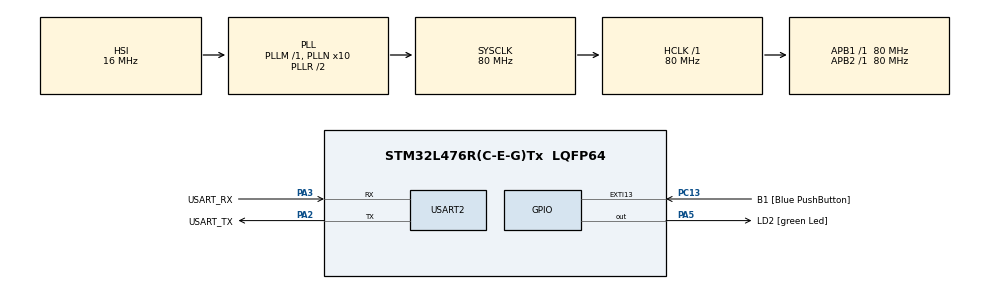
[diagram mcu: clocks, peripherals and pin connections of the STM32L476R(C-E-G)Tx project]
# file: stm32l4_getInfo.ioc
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Mcu.Family=STM32L4
Mcu.Name=STM32L476R(C-E-G)Tx
Mcu.Package=LQFP64
NVIC.PriorityGroup=NVIC_PRIORITYGROUP_4
PA13\ (JTMS-SWDIO).GPIO_Label=TMS
PA13\ (JTMS-SWDIO).Signal=SYS_JTMS-SWDIO
PA14\ (JTCK-SWCLK).GPIO_Label=TCK
PA14\ (JTCK-SWCLK).Signal=SYS_JTCK-SWCLK
PA2.GPIO_Label=USART_TX
PA2.GPIO_Mode=GPIO_MODE_AF_PP
PA2.GPIO_PuPd=GPIO_NOPULL
PA2.GPIO_Speed=GPIO_SPEED_FREQ_VERY_HIGH
PA2.Mode=Asynchronous
PA2.Signal=USART2_TX
PA3.GPIO_Label=USART_RX
PA3.GPIO_Mode=GPIO_MODE_AF_PP
PA3.GPIO_PuPd=GPIO_NOPULL
PA3.GPIO_Speed=GPIO_SPEED_FREQ_VERY_HIGH
PA3.Mode=Asynchronous
PA3.Signal=USART2_RX
PA5.GPIO_Label=LD2 [green Led]
PA5.GPIO_ModeDefaultOutputPP=GPIO_MODE_OUTPUT_PP
PA5.GPIO_PuPd=GPIO_NOPULL
PA5.GPIO_Speed=GPIO_SPEED_FREQ_LOW
PA5.Signal=GPIO_Output
PB3\ (JTDO-TRACESWO).GPIO_Label=SWO
PB3\ (JTDO-TRACESWO).Signal=SYS_JTDO-SWO
PC13.GPIO_Label=B1 [Blue PushButton]
PC13.GPIO_ModeDefaultEXTI=GPIO_MODE_IT_FALLING
PC13.GPIO_PuPd=GPIO_NOPULL
PC13.Signal=GPXTI13
PC14-OSC32_IN\ (PC14).Signal=RCC_OSC32_IN
PC15-OSC32_OUT\ (PC15).Signal=RCC_OSC32_OUT
PH0-OSC_IN\ (PH0).Mode=HSE-External-Clock-Source
PH0-OSC_IN\ (PH0).Signal=RCC_OSC_IN
PH1-OSC_OUT\ (PH1).Signal=RCC_OSC_OUT
ProjectManager.HeapSize=0x200
ProjectManager.StackSize=0x400
ProjectManager.TargetToolchain=SW4STM32
RCC.ADCFreq_Value=32000000
RCC.AHBFreq_Value=80000000
RCC.APB1Freq_Value=80000000
RCC.APB1TimFreq_Value=80000000
RCC.APB2Freq_Value=80000000
RCC.APB2TimFreq_Value=80000000
RCC.CortexFreq_Value=80000000
RCC.HCLKFreq_Value=80000000
RCC.HSE_VALUE=8000000
RCC.HSI_VALUE=16000000
RCC.LSE_VALUE=32768
RCC.MSI_VALUE=4000000
RCC.PLLN=20
RCC.PLLSourceVirtual=RCC_PLLSOURCE_HSE
RCC.PREFETCH_ENABLE=1
RCC.SYSCLKFreq_VALUE=80000000
RCC.SYSCLKSource=RCC_SYSCLKSOURCE_PLLCLK
RCC.USBFreq_Value=32000000
RCC.VCOOutputFreq_Value=160000000
USART2.VirtualMode-Asynchronous=VM_ASYNC
USART2.WordLength=WORDLENGTH_8B
board=NUCLEO-L476RG

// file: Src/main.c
/**
  ******************************************************************************
  * File Name          : main.c
  * Description        : Main program body
  ******************************************************************************
  ** This notice applies to any and all portions of this file
  * that are not between comment pairs USER CODE BEGIN and
  * USER CODE END. Other portions of this file, whether
  * inserted by the user or by software development tools
  * are owned by their respective copyright owners.
  *
  * COPYRIGHT(c) 2017 STMicroelectronics
  *
  * Redistribution and use in source and binary forms, with or without modification,
  * are permitted provided that the following conditions are met:
  *   1. Redistributions of source code must retain the above copyright notice,
  *      this list of conditions and the following disclaimer.
  *   2. Redistributions in binary form must reproduce the above copyright notice,
  *      this list of conditions and the following disclaimer in the documentation
  *      and/or other materials provided with the distribution.
  *   3. Neither the name of STMicroelectronics nor the names of its contributors
  *      may be used to endorse or promote products derived from this software
  *      without specific prior written permission.
  *
  * THIS SOFTWARE IS PROVIDED BY THE COPYRIGHT HOLDERS AND CONTRIBUTORS "AS IS"
  * AND ANY EXPRESS OR IMPLIED WARRANTIES, INCLUDING, BUT NOT LIMITED TO, THE
  * IMPLIED WARRANTIES OF MERCHANTABILITY AND FITNESS FOR A PARTICULAR PURPOSE ARE
  * DISCLAIMED. IN NO EVENT SHALL THE COPYRIGHT HOLDER OR CONTRIBUTORS BE LIABLE
  * FOR ANY DIRECT, INDIRECT, INCIDENTAL, SPECIAL, EXEMPLARY, OR CONSEQUENTIAL
  * DAMAGES (INCLUDING, BUT NOT LIMITED TO, PROCUREMENT OF SUBSTITUTE GOODS OR
  * SERVICES; LOSS OF USE, DATA, OR PROFITS; OR BUSINESS INTERRUPTION) HOWEVER
  * CAUSED AND ON ANY THEORY OF LIABILITY, WHETHER IN CONTRACT, STRICT LIABILITY,
  * OR TORT (INCLUDING NEGLIGENCE OR OTHERWISE) ARISING IN ANY WAY OUT OF THE USE
  * OF THIS SOFTWARE, EVEN IF ADVISED OF THE POSSIBILITY OF SUCH DAMAGE.
  *
  ******************************************************************************
  */
#include "main.h"
#include "stm32l4xx_hal.h"

/* USER CODE BEGIN Includes */
#include "stm32l4xx_nucleo.h"

/* USER CODE END Includes */

UART_HandleTypeDef huart2;

/* USER CODE BEGIN PV */
/* Private variables ---------------------------------------------------------*/
RCC_ClkInitTypeDef RCC_ClkInitStruct;
RCC_OscInitTypeDef RCC_OscInitStruct;

/* USER CODE END PV */

void SystemClock_Config(void);
static void MX_GPIO_Init(void);
static void MX_USART2_UART_Init(void);

/* USER CODE BEGIN PFP */
/* Private function prototypes -----------------------------------------------*/
#ifdef __GNUC__
#define PUTCHAR_PROTOTYPE int __io_putchar(int ch)
#else
#define PUTCHAR_PROTOTYPE int fputc(int ch, FILE *f)
#endif /* __GNUC__ */

/* USER CODE END PFP */

int main(void)
{

  /* MCU Configuration----------------------------------------------------------*/

  /* Reset of all peripherals, Initializes the Flash interface and the Systick. */
  HAL_Init();

  /* Configure the system clock */
  SystemClock_Config();

  /* Initialize all configured peripherals */
  MX_GPIO_Init();
  MX_USART2_UART_Init();

  /* USER CODE BEGIN 2 */
  char uart2Data[24] = "Connected to UART Two\r\n";
   HAL_UART_Transmit(&huart2, (uint8_t *)&uart2Data,sizeof(uart2Data), 0xFFFF);

 	uint8_t len = 0;
 	char devidString[512] = {0};
 	uint32_t idcode = DBGMCU->IDCODE & 0xFFF;
 	//len += sprintf(devidString, "Device ID: 0x%lX\r\n", idcode);
 	//printf("%s", devidString);
 	switch (idcode)
 	{
	case 0x410: len += sprintf(devidString+len, "stm32f1xx medium-density"); break;
	case 0x411: len += sprintf(devidString+len, "stm32f2xx"); break;
	case 0x412: len += sprintf(devidString+len, "stm32f1xx low-density"); break;
	case 0x413: len += sprintf(devidString+len, "stm32f4xx"); break;
	case 0x414: len += sprintf(devidString+len, "stm32f1xx high-density"); break;
	case 0x415: len += sprintf(devidString+len, "stm32l475xx/476xx/486xx"); break;
	case 0x416: len += sprintf(devidString+len, "stm32l1xx medium-density"); break;
	case 0x417: len += sprintf(devidString+len, "stm32l0xx"); break;
	case 0x418: len += sprintf(devidString+len, "stm32f1xx connectivity line"); break;
	case 0x419: len += sprintf(devidString+len, "stm32f4xx high-density"); break;
	case 0x420: len += sprintf(devidString+len, "stm32f1xx value line"); break;
	case 0x421: len += sprintf(devidString+len, "stm32f446"); break;
	case 0x422: len += sprintf(devidString+len, "stm32f3xx"); break;
	case 0x423: len += sprintf(devidString+len, "stm32f4xx low power"); break;
	case 0x425: len += sprintf(devidString+len, "stm32l0xx cat. 2"); break;
	case 0x427: len += sprintf(devidString+len, "stm32l1xx medium-density/plus"); break;
	case 0x428: len += sprintf(devidString+len, "stm32f1xx value line high-density"); break;
	case 0x429: len += sprintf(devidString+len, "stm32l1xx cat. 2"); break;
	case 0x430: len += sprintf(devidString+len, "stm32f1xx xl-density"); break;
	case 0x431: len += sprintf(devidString+len, "stm32f411re"); break;
	case 0x432: len += sprintf(devidString+len, "stm32f37x"); break;
	case 0x433: len += sprintf(devidString+len, "stm32f4xx de"); break;
	case 0x434: len += sprintf(devidString+len, "stm32f4xx dsi"); break;
	case 0x435: len += sprintf(devidString+len, "stm32l43x"); break;
	case 0x436: len += sprintf(devidString+len, "stm32l1xx high-density"); break;
	case 0x437: len += sprintf(devidString+len, "stm32l152re"); break;
	case 0x438: len += sprintf(devidString+len, "stm32f334"); break;
	case 0x439: len += sprintf(devidString+len, "stm32f3xx small"); break;
	case 0x440: len += sprintf(devidString+len, "stm32f0xx"); break;
	case 0x441: len += sprintf(devidString+len, "stm32f412"); break;
	case 0x442: len += sprintf(devidString+len, "stm32f09x"); break;
	case 0x444: len += sprintf(devidString+len, "stm32f0xx small"); break;
	case 0x445: len += sprintf(devidString+len, "stm32f04x"); break;
	case 0x446: len += sprintf(devidString+len, "stm32f303 high-density"); break;
	case 0x447: len += sprintf(devidString+len, "stm32l0xx cat. 5"); break;
	case 0x448: len += sprintf(devidString+len, "stm32f0xx can"); break;
	case 0x449: len += sprintf(devidString+len, "stm32f7"); break;
	case 0x451: len += sprintf(devidString+len, "stm32f7xx"); break;
	case 0x457: len += sprintf(devidString+len, "stm32l011"); break;
	case 0x458: len += sprintf(devidString+len, "stm32f410"); break;
	case 0x461: len += sprintf(devidString+len, "stm32l496xx/4A6xx"); break;
	case 0x463: len += sprintf(devidString+len, "stm32f413"); break;
	default: len += sprintf(devidString+len, "unknown device\r\n");
 	}

	uint32_t revCode = (DBGMCU->IDCODE & DBGMCU_IDCODE_REV_ID_Msk) >> DBGMCU_IDCODE_REV_ID_Pos;

	if (idcode == 0x415)
	{
		switch (revCode)
		{
		case 0x1000: len += sprintf(devidString+len, "  Revision 1\r\n"); break;
		case 0x1001: len += sprintf(devidString+len, "  Revision 2\r\n"); break;
		case 0x1003: len += sprintf(devidString+len, "  Revision 3\r\n"); break;
		case 0x1007: len += sprintf(devidString+len, "  Revision 4\r\n"); break;
		default: len += sprintf(devidString+len, " Revision %lX\r\n", revCode); break;
		}
	}

	if (idcode == 0x461)
	{
		switch (revCode)
		{
		case 0x1000: len += sprintf(devidString+len, "  Revision A\r\n"); break;
		case 0x1001: len += sprintf(devidString+len, "  Revision B\r\n"); break;
		default: len += sprintf(devidString+len, " Revision %lX\r\n", revCode); break;
		}
	}
 	printf("%s", devidString);
 	//GUI_DispString(devidString);

 	len = 0;
 	uint32_t cpuid = SCB->CPUID;
 	uint32_t var, pat;
 	pat = (cpuid & 0x0000000F);
 	var = (cpuid & 0x00F00000) >> 20;
 	uint32_t mvfr0;
 	char cpuString[24] = {0};

 	//len += sprintf(cpuString, "CPU ID: 0x");
 	//len += sprintf(cpuString+len, "%lX\r\n", cpuid);

 	if ((cpuid & 0xFF000000) == 0x41000000) // ARM
 		{
 			len += sprintf(cpuString+len, "ARM ");
 			switch((cpuid & 0x0000FFF0) >> 4)
 				{
 					case 0xC20 : len += sprintf(cpuString+len, "Cortex M0 r%ldp%ld\r\n", var, pat); break;
 					case 0xC60 : len += sprintf(cpuString+len, "Cortex M0+ r%ldp%ld\r\n", var, pat); break;
 					case 0xC21 : len += sprintf(cpuString+len, "Cortex M1 r%ldp%ld\r\n", var, pat); break;
 					case 0xC23 : len += sprintf(cpuString+len, "Cortex M3 r%ldp%ld\r\n", var, pat); break;
 					case 0xC24 : len += sprintf(cpuString+len, "Cortex M4 r%ldp%ld\r\n", var, pat); break;
 					case 0xC27 : len += sprintf(cpuString+len, "Cortex M7 r%ldp%ld\r\n", var, pat); break;

 					default : len += sprintf(cpuString+len, "Unknown CORE\r\n");
 				}
 		}

     mvfr0 = *(volatile uint32_t *)0xE000EF40;
 	//mvfr0 = SCB->MVFR0;

     if (mvfr0 > 0){
    	 switch(mvfr0)
     	 	 {
     	 	 case 0x10110021 : len += sprintf(cpuString+len, "Single precision FPU\r\n"); break;
     	 	 case 0x10110221 : len += sprintf(cpuString+len, "Double precision FPU\r\n"); break;
     	 	 //default : len += sprintf(cpuString+len, "No FPU\r\n");
     	 	 default: ;
     	 	 }
     	 }
 	printf("%s",cpuString);

	len = 0;
	char memString[512] = {0};
	switch (idcode)
	{
	case 0x415: len += sprintf(memString+len, "%dK Flash, 128K RAM (96K SRAM1, 32K SRAM2)\r\n", *((unsigned short *)FLASHSIZE_BASE)); break;
	default: len += sprintf(memString+len, "unknown device\r\n");
	}
	printf("%s", memString);

	len = 0;
	char pkgString[128] = {0};
	uint32_t pkg = *((uint32_t *)PACKAGE_BASE) & 0x1F;
	switch (pkg)
	{
	case 0x00000000: len += sprintf(pkgString+len, "LQFP64\r\n"); break;
	case 0x00000001: len += sprintf(pkgString+len, "WLCSP64\r\n"); break;
	case 0x00000002: len += sprintf(pkgString+len, "LQFP100\r\n"); break;
	case 0x00000003: len += sprintf(pkgString+len, "BGA132\r\n"); break;
	case 0x00000004: len += sprintf(pkgString+len, "LQFP144, WLCSP81 or WLCSP72\r\n"); break;
	case 0x00000008: len += sprintf(pkgString+len, "UFQFPN32\r\n"); break;
	case 0x0000000A: len += sprintf(pkgString+len, "UFQFPN48\r\n"); break;
	case 0x0000000B: len += sprintf(pkgString+len, "LQFP48\r\n"); break;
	case 0x0000000C: len += sprintf(pkgString+len, "WLCSP49\r\n"); break;
	case 0x0000000D: len += sprintf(pkgString+len, "UFBGA64\r\n"); break;
	case 0x0000000E: len += sprintf(pkgString+len, "UFBGA100\r\n"); break;
	case 0x00000010: len += sprintf(pkgString+len, "UFBGA169\r\n"); break;
	}
	printf("%s", pkgString);

	len = 0;
	char idString[2048] = {0};
	uint32_t word0 = *(uint32_t *)(UID_BASE);
	uint32_t word1 = *(uint32_t *)(UID_BASE + 0x04);
	uint32_t word2 = *(uint32_t *)(UID_BASE + 0x08);
	uint64_t lotNum;
	char lotNumString[32] = {0};
	lotNum = ((uint64_t)word2 << 24 ) | (word1 >> 8);
	len += sprintf(idString, "Device Unique ID: ");
	len += sprintf(idString+len, "%08lX %08lX %08lX\r\n", word0, word1, word2);
	uint32_t x = word0 & 0xFFFF;
	uint32_t y = (word0 & 0xFFFF0000) >> 16;
	uint32_t wafer = word1 & 0xFF;
	sprintf(lotNumString, "%s", (char *)&lotNum);
	len += sprintf(idString+len, "Wafer %ld of Lot %s\r\n", wafer, lotNumString);
	len += sprintf(idString+len, "Location on wafer: X:%ld, Y:%ld\r\n", x,y);
	printf("%s", idString);

	len = 0;
	char myString[512] = {0};
	len += sprintf(myString+len, "HAL Version: ");
	uint32_t halVersion = HAL_GetHalVersion();
	len += sprintf(myString+len, "%d.", (uint8_t)(halVersion >> 24) & 0xff);
	len += sprintf(myString+len, "%d.", (uint8_t)(halVersion >> 16) & 0xff);
	len += sprintf(myString+len, "%d ", (uint8_t)(halVersion >> 8) & 0xff);
	if ((uint8_t)(halVersion >> 0) & 0xff)
	  {
		len += sprintf(myString+len, "rc%d\r\n", (uint8_t)(halVersion >> 0) & 0xff);
	  }
	else
	  {
		len += sprintf(myString+len, "\r\n");
	  }

	len += sprintf(myString+len, "BSP Version: ");
	uint32_t bspVersion = BSP_GetVersion();
	len += sprintf(myString+len, "%d.", (uint8_t)(bspVersion >> 24) & 0xff);
	len += sprintf(myString+len, "%d.", (uint8_t)(bspVersion >> 16) & 0xff);
	len += sprintf(myString+len, "%d ", (uint8_t)(bspVersion >> 8) & 0xff);
	if ((uint8_t)(bspVersion >> 0) & 0xff)
	  {
		len += sprintf(myString+len, "rc%d\r\n", (uint8_t)(bspVersion >> 0) & 0xff);
	  }
	else
	  {
		len += sprintf(myString+len, "\r\n");
	  }
	printf("%s", myString);

 	printf("\r\n");

 	printf("Oscillators and clocks\r\n");
 	printf("----------------------\r\n");
 	printf("            HSE State: ");
 	switch (RCC_OscInitStruct.HSEState)
 	{
 	case RCC_HSE_OFF: printf("Off\r\n"); break;
 	case RCC_HSE_ON:  printf("On\r\n"); break;
 	case RCC_HSE_BYPASS: printf("Bypass\r\n"); break;
 	}

 	printf("            LSE State: ");
 	switch (RCC_OscInitStruct.LSEState)
 	{
 	case RCC_LSE_OFF: printf("Off\r\n"); break;
 	case RCC_LSE_ON:  printf("On\r\n"); break;
 	case RCC_LSE_BYPASS: printf("Bypass\r\n"); break;
 	}

 	printf("            HSI State: ");
 	switch (RCC_OscInitStruct.HSIState)
 	{
 	case RCC_HSI_OFF: printf("Off\r\n"); break;
 	case RCC_HSI_ON:  printf("On\r\n"); break;
 	}

 	printf("            LSI State: ");
 	switch (RCC_OscInitStruct.LSIState)
 	{
 	case RCC_LSI_OFF: printf("Off\r\n"); break;
 	case RCC_LSI_ON:  printf("On\r\n"); break;
 	}

	printf("        SYSCLK Source: ");
	switch (RCC_ClkInitStruct.SYSCLKSource)
	{
		case RCC_SYSCLKSOURCE_MSI : printf("MSI\r\n"); break;
		case RCC_SYSCLKSOURCE_HSI : printf("HSI\r\n"); break;
		case RCC_SYSCLKSOURCE_HSE : printf("HSE\r\n"); break;
		case RCC_SYSCLKSOURCE_PLLCLK : printf("PLLCLK\r\n"); break;
		default : printf("??\r\n");
	}

 	if (RCC_OscInitStruct.PLL.PLLState > 0) {
 	  printf("           PLL Source: ");
 	  switch (RCC_OscInitStruct.PLL.PLLSource)
 		{
 			case RCC_PLLSOURCE_NONE  : printf("No PLL\r\n"); break;
 			case RCC_PLLSOURCE_MSI : printf("MSI\r\n"); break;
 			case RCC_PLLSOURCE_HSI : printf("HSI\r\n"); break;
 			case RCC_PLLSOURCE_HSE : printf("HSE\r\n"); break;
 		}
 	//printf("       PLL Multiplier: %08lX\r\n", RCC_OscInitStruct.PLL.PLLMUL);
 	  printf("                PLL M: /%ld\r\n", RCC_OscInitStruct.PLL.PLLM);
 	  printf("                PLL N: *%ld\r\n", RCC_OscInitStruct.PLL.PLLN);
 	  printf("                PLL P: ");
 	  switch (RCC_OscInitStruct.PLL.PLLP)
 	    {
 	  	  case RCC_PLLP_DIV7 : printf("/7\r\n"); break;
 	  	  case RCC_PLLP_DIV17 : printf("/17\r\n"); break;

 	    }
 	 printf("                PLL Q: ");
 	 switch (RCC_OscInitStruct.PLL.PLLQ)
 	    {
 	  	  case RCC_PLLQ_DIV2 : printf("/2\r\n"); break;
 	  	  case RCC_PLLQ_DIV4 : printf("/4\r\n"); break;
 	  	  case RCC_PLLQ_DIV6 : printf("/6\r\n"); break;
 	  	  case RCC_PLLQ_DIV8 : printf("/8\r\n"); break;
 	    }
 	 printf("                PLL R: ");
 	 switch (RCC_OscInitStruct.PLL.PLLR)
 	    {
 	  	  case RCC_PLLR_DIV2 : printf("/2\r\n"); break;
 	  	  case RCC_PLLR_DIV4 : printf("/4\r\n"); break;
 	  	  case RCC_PLLR_DIV6 : printf("/6\r\n"); break;
 	  	  case RCC_PLLR_DIV8 : printf("/8\r\n"); break;
 	    }
 	}

	uint32_t latency;
	HAL_RCC_GetClockConfig(&RCC_ClkInitStruct, &latency);
	//printf("           Clock Type: %08lX\r\n", RCC_ClkInitStruct.ClockType);
	//printf("\r\n");

	printf("       AHBCLK Divider: ");
	switch (RCC_ClkInitStruct.AHBCLKDivider)
	{
	case RCC_SYSCLK_DIV1 : printf("/1\r\n"); break;
	case RCC_SYSCLK_DIV2 : printf("/2\r\n"); break;
	case RCC_SYSCLK_DIV4 : printf("/4\r\n"); break;
	case RCC_SYSCLK_DIV8 : printf("/8\r\n"); break;
	case RCC_SYSCLK_DIV16 : printf("/16\r\n"); break;
	case RCC_SYSCLK_DIV64 : printf("/64\r\n"); break;
	case RCC_SYSCLK_DIV128 : printf("/128\r\n"); break;
	case RCC_SYSCLK_DIV256 : printf("/256\r\n"); break;
	case RCC_SYSCLK_DIV512 : printf("/512\r\n"); break;
	}

	printf("      APB1CLK Divider: ");
	switch (RCC_ClkInitStruct.APB1CLKDivider)
	{
	case RCC_CFGR_PPRE1_DIV1 : printf("/1\r\n"); break;
	case RCC_CFGR_PPRE1_DIV2 : printf("/2\r\n"); break;
	case RCC_CFGR_PPRE1_DIV4 : printf("/4\r\n"); break;
	case RCC_CFGR_PPRE1_DIV8 : printf("/8\r\n"); break;
	case RCC_CFGR_PPRE1_DIV16 : printf("/16\r\n"); break;
	}

	printf("      APB2CLK Divider: ");
	switch (RCC_ClkInitStruct.APB2CLKDivider)
	{
	case RCC_CFGR_PPRE1_DIV1 : printf("/1\r\n"); break;
	case RCC_CFGR_PPRE1_DIV2 : printf("/2\r\n"); break;
	case RCC_CFGR_PPRE1_DIV4 : printf("/4\r\n"); break;
	case RCC_CFGR_PPRE1_DIV8 : printf("/8\r\n"); break;
	case RCC_CFGR_PPRE1_DIV16 : printf("/16\r\n"); break;
	}

	printf("        Flash latency: %lX\r\n", latency);

 	printf("\r\n");
 	printf("Core registers\r\n");
 	printf("--------------\r\n");
	register int r0 asm ("r0");
	printf("           r0: 0x%08X\r\n", r0);
	register int r1 asm ("r1");
	printf("           r1: 0x%08X\r\n", r1);
	register int r2 asm ("r2");
	printf("           r2: 0x%08X\r\n", r2);
	register int r3 asm ("r3");
	printf("           r3: 0x%08X\r\n", r3);
	register int r4 asm ("r4");
	printf("           r4: 0x%08X\r\n", r4);
	register int r5 asm ("r5");
	printf("           r5: 0x%08X\r\n", r5);
	register int r6 asm ("r6");
	printf("           r6: 0x%08X\r\n", r6);
	register int r7 asm ("r7");
	printf("           r7: 0x%08X\r\n", r7);
	register int r8 asm ("r8");
	printf("           r8: 0x%08X\r\n", r8);
	register int r9 asm ("r9");
	printf("           r9: 0x%08X\r\n", r9);
	register int r10 asm ("r10");
	printf("          r10: 0x%08X\r\n", r10);
	register int r11 asm ("r11");
	printf("          r11: 0x%08X\r\n", r11);
	register int r12 asm ("r12");
	printf("          r12: 0x%08X\r\n", r12);
	register int sp asm ("sp");
	printf("stack pointer: 0x%08X\r\n", sp);
	register int lr asm ("lr");
	printf("link register: 0x%08X\r\n", lr);

  /* USER CODE END 2 */

  /* Infinite loop */
  while (1)
  {

  }

}

/** System Clock Configuration
*/
void SystemClock_Config(void)
{

  //RCC_OscInitTypeDef RCC_OscInitStruct;
  //RCC_ClkInitTypeDef RCC_ClkInitStruct;
  RCC_PeriphCLKInitTypeDef PeriphClkInit;

    /**Initializes the CPU, AHB and APB busses clocks
    */
  RCC_OscInitStruct.OscillatorType = RCC_OSCILLATORTYPE_HSI;
  RCC_OscInitStruct.HSIState = RCC_HSI_ON;
  RCC_OscInitStruct.PLL.PLLState = RCC_PLL_ON;
  RCC_OscInitStruct.PLL.PLLSource = RCC_PLLSOURCE_HSI;
  RCC_OscInitStruct.PLL.PLLM = 1;
  RCC_OscInitStruct.PLL.PLLN = 10;
  RCC_OscInitStruct.PLL.PLLP = RCC_PLLP_DIV7;
  RCC_OscInitStruct.PLL.PLLQ = RCC_PLLQ_DIV2;
  RCC_OscInitStruct.PLL.PLLR = RCC_PLLR_DIV2;
  if (HAL_RCC_OscConfig(&RCC_OscInitStruct) != HAL_OK)
  {
    _Error_Handler(__FILE__, __LINE__);
  }

    /**Initializes the CPU, AHB and APB busses clocks
    */
  RCC_ClkInitStruct.ClockType = RCC_CLOCKTYPE_HCLK|RCC_CLOCKTYPE_SYSCLK
                              |RCC_CLOCKTYPE_PCLK1|RCC_CLOCKTYPE_PCLK2;
  RCC_ClkInitStruct.SYSCLKSource = RCC_SYSCLKSOURCE_PLLCLK;
  RCC_ClkInitStruct.AHBCLKDivider = RCC_SYSCLK_DIV1;
  RCC_ClkInitStruct.APB1CLKDivider = RCC_HCLK_DIV1;
  RCC_ClkInitStruct.APB2CLKDivider = RCC_HCLK_DIV1;

  if (HAL_RCC_ClockConfig(&RCC_ClkInitStruct, FLASH_LATENCY_4) != HAL_OK)
  {
    _Error_Handler(__FILE__, __LINE__);
  }

  PeriphClkInit.PeriphClockSelection = RCC_PERIPHCLK_USART2;
  PeriphClkInit.Usart2ClockSelection = RCC_USART2CLKSOURCE_PCLK1;
  if (HAL_RCCEx_PeriphCLKConfig(&PeriphClkInit) != HAL_OK)
  {
    _Error_Handler(__FILE__, __LINE__);
  }

    /**Configure the main internal regulator output voltage
    */
  if (HAL_PWREx_ControlVoltageScaling(PWR_REGULATOR_VOLTAGE_SCALE1) != HAL_OK)
  {
    _Error_Handler(__FILE__, __LINE__);
  }

    /**Configure the Systick interrupt time
    */
  HAL_SYSTICK_Config(HAL_RCC_GetHCLKFreq()/1000);

    /**Configure the Systick
    */
  HAL_SYSTICK_CLKSourceConfig(SYSTICK_CLKSOURCE_HCLK);

  /* SysTick_IRQn interrupt configuration */
  HAL_NVIC_SetPriority(SysTick_IRQn, 0, 0);
}

/* USART2 init function */
static void MX_USART2_UART_Init(void)
{

  huart2.Instance = USART2;
  huart2.Init.BaudRate = 115200;
  huart2.Init.WordLength = UART_WORDLENGTH_8B;
  huart2.Init.StopBits = UART_STOPBITS_1;
  huart2.Init.Parity = UART_PARITY_NONE;
  huart2.Init.Mode = UART_MODE_TX_RX;
  huart2.Init.HwFlowCtl = UART_HWCONTROL_NONE;
  huart2.Init.OverSampling = UART_OVERSAMPLING_16;
  huart2.Init.OneBitSampling = UART_ONE_BIT_SAMPLE_DISABLE;
  huart2.AdvancedInit.AdvFeatureInit = UART_ADVFEATURE_NO_INIT;
  if (HAL_UART_Init(&huart2) != HAL_OK)
  {
    _Error_Handler(__FILE__, __LINE__);
  }

}

/** Configure pins as
        * Analog
        * Input
        * Output
        * EVENT_OUT
        * EXTI
*/
static void MX_GPIO_Init(void)
{

  GPIO_InitTypeDef GPIO_InitStruct;

  /* GPIO Ports Clock Enable */
  __HAL_RCC_GPIOC_CLK_ENABLE();
  __HAL_RCC_GPIOH_CLK_ENABLE();
  __HAL_RCC_GPIOA_CLK_ENABLE();
  __HAL_RCC_GPIOB_CLK_ENABLE();

  /*Configure GPIO pin Output Level */
  HAL_GPIO_WritePin(LD2_GPIO_Port, LD2_Pin, GPIO_PIN_RESET);

  /*Configure GPIO pin : B1_Pin */
  GPIO_InitStruct.Pin = B1_Pin;
  GPIO_InitStruct.Mode = GPIO_MODE_IT_FALLING;
  GPIO_InitStruct.Pull = GPIO_NOPULL;
  HAL_GPIO_Init(B1_GPIO_Port, &GPIO_InitStruct);

  /*Configure GPIO pin : LD2_Pin */
  GPIO_InitStruct.Pin = LD2_Pin;
  GPIO_InitStruct.Mode = GPIO_MODE_OUTPUT_PP;
  GPIO_InitStruct.Pull = GPIO_NOPULL;
  GPIO_InitStruct.Speed = GPIO_SPEED_FREQ_LOW;
  HAL_GPIO_Init(LD2_GPIO_Port, &GPIO_InitStruct);

}

/* USER CODE BEGIN 4 */
/**
  * @brief  Retargets the C library printf function to the USART.
  * @param  None
  * @retval None
  */
PUTCHAR_PROTOTYPE
{
  /* Place your implementation of fputc here */
  /* e.g. write a character to the USART2 and Loop until the end of transmission */
  HAL_UART_Transmit(&huart2, (uint8_t *)&ch, 1, 0xFFFF);

  return ch;
}
/* USER CODE END 4 */

void _Error_Handler(char * file, int line)
{
  while(1)
  {
  }
}

/************************ (C) COPYRIGHT STMicroelectronics *****END OF FILE****/
